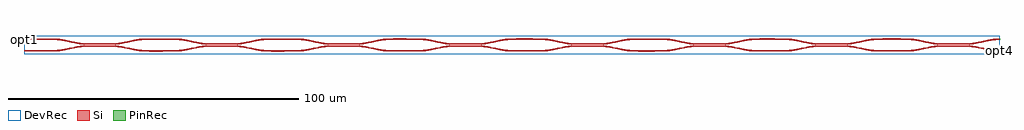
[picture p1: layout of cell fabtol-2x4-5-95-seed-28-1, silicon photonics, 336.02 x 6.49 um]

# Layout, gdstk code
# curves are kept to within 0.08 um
import gdstk
lib = gdstk.Library(unit=1e-6, precision=1e-09)
def R(c, l, rs):  # rectangles x0, y0, x1, y1
    for r in rs: c.add(gdstk.rectangle(r[:2], r[2:], *l))
def P(c, l, *ps):  # polygons
    for p in ps: c.add(gdstk.Polygon(p, *l))
Si = (1, 0)
PinRec = (1, 10)
DevRec = (68, 0)

layer_0_0_phase_sec_0_35 = lib.new_cell('layer-0_0_phase_sec_0$35')
P(layer_0_0_phase_sec_0_35, Si, [(1.184,-0.241),(0,-0.225),(0,0.225),(10,0.225),(10,-0.225)])

layer_2_0_phase_sec_2_35 = lib.new_cell('layer-2_0_phase_sec_2$35')
P(layer_2_0_phase_sec_2_35, Si, [(4.527,-0.236),(0,-0.225),(0,0.225),(10,0.225),(10,-0.225)])

layer_3_0_phase_sec_3_35 = lib.new_cell('layer-3_0_phase_sec_3$35')
P(layer_3_0_phase_sec_3_35, Si, [(1.044,-0.232),(0,-0.225),(0,0.225),(10,0.225),(10,-0.225)])

layer_0_0_phase_sec_1_35 = lib.new_cell('layer-0_0_phase_sec_1$35')
P(layer_0_0_phase_sec_1_35, Si, [(3.836,-0.232),(0,-0.225),(0,0.225),(10,0.225),(10,-0.225)])

dc_arm_down_35 = lib.new_cell('dc_arm_down$35')
R(dc_arm_down_35, Si, [(12,-0.55,20,-0.1)])
P(dc_arm_down_35, Si, [(32,-2.225),(30.861,-2.188),(29.344,-2.033),(22.966,-0.793),(21.481,-0.613),(20,-0.55),(20,-0.1),(21.139,-0.137),(22.656,-0.292),(29.034,-1.532),(30.519,-1.712),(32,-1.775)],
  [(0,-2.225),(0,-1.775),(1.481,-1.712),(2.966,-1.532),(9.344,-0.292),(10.861,-0.137),(12,-0.1),(12,-0.55),(10.519,-0.613),(9.034,-0.793),(2.656,-2.033),(1.139,-2.188)])

dc_arm_up_35 = lib.new_cell('dc_arm_up$35')
R(dc_arm_up_35, Si, [(12,0.1,20,0.55)])
P(dc_arm_up_35, Si, [(20,0.1),(20,0.55),(21.481,0.613),(22.966,0.793),(29.344,2.033),(30.861,2.188),(32,2.225),(32,1.775),(30.519,1.712),(29.034,1.532),(22.656,0.292),(21.139,0.137)],
  [(12,0.1),(10.861,0.137),(9.344,0.292),(2.966,1.532),(1.481,1.712),(0,1.775),(0,2.225),(1.139,2.188),(2.656,2.033),(9.034,0.793),(10.519,0.613),(12,0.55)])

dc_35 = lib.new_cell('dc$35')
dc_35.add(gdstk.Reference(dc_arm_down_35, (0,0)))
dc_35.add(gdstk.Reference(dc_arm_up_35, (0,0)))

layer_0_0_phase_sec_2_35 = lib.new_cell('layer-0_0_phase_sec_2$35')
P(layer_0_0_phase_sec_2_35, Si, [(3.659,-0.237),(0,-0.225),(0,0.225),(10,0.225),(10,-0.225)])

layer_0_0_phase_sec_3_35 = lib.new_cell('layer-0_0_phase_sec_3$35')
P(layer_0_0_phase_sec_3_35, Si, [(3.49,-0.243),(0,-0.225),(0,0.225),(10,0.225),(10,-0.225)])

layer_1_0_phase_sec_0_35 = lib.new_cell('layer-1_0_phase_sec_0$35')
P(layer_1_0_phase_sec_0_35, Si, [(1.142,-0.236),(0,-0.225),(0,0.225),(10,0.225),(10,-0.225)])

layer_3_0_phase_sec_0_35 = lib.new_cell('layer-3_0_phase_sec_0$35')
P(layer_3_0_phase_sec_0_35, Si, [(1.289,-0.252),(0,-0.225),(0,0.225),(10,0.225),(10,-0.225)])

layer_1_0_phase_sec_1_35 = lib.new_cell('layer-1_0_phase_sec_1$35')
P(layer_1_0_phase_sec_1_35, Si, [(1.131,-0.239),(0,-0.225),(0,0.225),(10,0.225),(10,-0.225)])

layer_3_0_phase_sec_1_35 = lib.new_cell('layer-3_0_phase_sec_1$35')
P(layer_3_0_phase_sec_1_35, Si, [(0,-0.225),(0,0.225),(10,0.225),(10,-0.225)])

layer_1_0_phase_sec_2_35 = lib.new_cell('layer-1_0_phase_sec_2$35')
P(layer_1_0_phase_sec_2_35, Si, [(4.524,-0.248),(0,-0.225),(0,0.225),(10,0.225),(10,-0.225)])

layer_3_0_phase_sec_2_35 = lib.new_cell('layer-3_0_phase_sec_2$35')
P(layer_3_0_phase_sec_2_35, Si, [(4.691,-0.247),(0,-0.225),(0,0.225),(10,0.225),(10,-0.225)])

layer_1_0_phase_sec_3_35 = lib.new_cell('layer-1_0_phase_sec_3$35')
P(layer_1_0_phase_sec_3_35, Si, [(6.061,-0.231),(0,-0.225),(0,0.225),(10,0.225),(10,-0.225)])

layer_2_0_phase_sec_0_35 = lib.new_cell('layer-2_0_phase_sec_0$35')
P(layer_2_0_phase_sec_0_35, Si, [(1.443,-0.251),(0,-0.225),(0,0.225),(10,0.225),(10,-0.225)])

layer_2_0_phase_sec_1_35 = lib.new_cell('layer-2_0_phase_sec_1$35')
P(layer_2_0_phase_sec_1_35, Si, [(1.111,-0.226),(0,-0.225),(0,0.225),(10,0.225),(10,-0.225)])

layer_2_0_phase_sec_3_35 = lib.new_cell('layer-2_0_phase_sec_3$35')
P(layer_2_0_phase_sec_3_35, Si, [(2.893,-0.243),(0,-0.225),(0,0.225),(10,0.225),(10,-0.225)])

fabtol_2x4_5_95_seed_28_ = lib.new_cell('fabtol-2x4-5-95-seed-28-1')
R(fabtol_2x4_5_95_seed_28_, DevRec, [(0,-1,336,5.495)])
fabtol_2x4_5_95_seed_28_.add(gdstk.FlexPath([(335.99,0.243),(336.01,0.243)], 0.45, ends="flush", simple_path=True, layer=1, datatype=10))  # PinRec
fabtol_2x4_5_95_seed_28_.add(gdstk.FlexPath([(335.99,4.243),(336.01,4.243)], 0.45, ends="flush", simple_path=True, layer=1, datatype=10))  # PinRec
fabtol_2x4_5_95_seed_28_.add(gdstk.FlexPath([(0.01,4.243),(-0.01,4.243)], 0.45, ends="flush", simple_path=True, layer=1, datatype=10))  # PinRec
fabtol_2x4_5_95_seed_28_.add(gdstk.Reference(layer_0_0_phase_sec_0_35, (0,4.243)))
fabtol_2x4_5_95_seed_28_.add(gdstk.Reference(layer_2_0_phase_sec_2_35, (210,4.243)))
fabtol_2x4_5_95_seed_28_.add(gdstk.Reference(layer_3_0_phase_sec_3_35, (294,0.243)))
fabtol_2x4_5_95_seed_28_.add(gdstk.Reference(layer_0_0_phase_sec_1_35, (0,0.243)))
fabtol_2x4_5_95_seed_28_.add(gdstk.Reference(dc_35, (10,2.243)))
fabtol_2x4_5_95_seed_28_.add(gdstk.Reference(dc_35, (52,2.243)))
fabtol_2x4_5_95_seed_28_.add(gdstk.Reference(dc_35, (94,2.243)))
fabtol_2x4_5_95_seed_28_.add(gdstk.Reference(dc_35, (136,2.243)))
fabtol_2x4_5_95_seed_28_.add(gdstk.Reference(dc_35, (178,2.243)))
fabtol_2x4_5_95_seed_28_.add(gdstk.Reference(dc_35, (220,2.243)))
fabtol_2x4_5_95_seed_28_.add(gdstk.Reference(dc_35, (262,2.243)))
fabtol_2x4_5_95_seed_28_.add(gdstk.Reference(dc_35, (304,2.243)))
fabtol_2x4_5_95_seed_28_.add(gdstk.Reference(layer_0_0_phase_sec_2_35, (42,4.243)))
fabtol_2x4_5_95_seed_28_.add(gdstk.Reference(layer_0_0_phase_sec_3_35, (42,0.243)))
fabtol_2x4_5_95_seed_28_.add(gdstk.Reference(layer_1_0_phase_sec_0_35, (84,4.243)))
fabtol_2x4_5_95_seed_28_.add(gdstk.Reference(layer_3_0_phase_sec_0_35, (252,4.243)))
fabtol_2x4_5_95_seed_28_.add(gdstk.Reference(layer_1_0_phase_sec_1_35, (84,0.243)))
fabtol_2x4_5_95_seed_28_.add(gdstk.Reference(layer_3_0_phase_sec_1_35, (252,0.243)))
fabtol_2x4_5_95_seed_28_.add(gdstk.Reference(layer_1_0_phase_sec_2_35, (126,4.243)))
fabtol_2x4_5_95_seed_28_.add(gdstk.Reference(layer_3_0_phase_sec_2_35, (294,4.243)))
fabtol_2x4_5_95_seed_28_.add(gdstk.Reference(layer_1_0_phase_sec_3_35, (126,0.243)))
fabtol_2x4_5_95_seed_28_.add(gdstk.Reference(layer_2_0_phase_sec_0_35, (168,4.243)))
fabtol_2x4_5_95_seed_28_.add(gdstk.Reference(layer_2_0_phase_sec_1_35, (168,0.243)))
fabtol_2x4_5_95_seed_28_.add(gdstk.Reference(layer_2_0_phase_sec_3_35, (210,0.243)))
fabtol_2x4_5_95_seed_28_.add(gdstk.Label('opt4', (336,0.243), layer=1, texttype=10))
fabtol_2x4_5_95_seed_28_.add(gdstk.Label('opt3', (336,4.243), layer=1, texttype=10))
fabtol_2x4_5_95_seed_28_.add(gdstk.Label('opt1', (0,4.243), layer=1, texttype=10))

lib.write_gds('fabtol-2x4-5-95-seed-28-1.gds')
